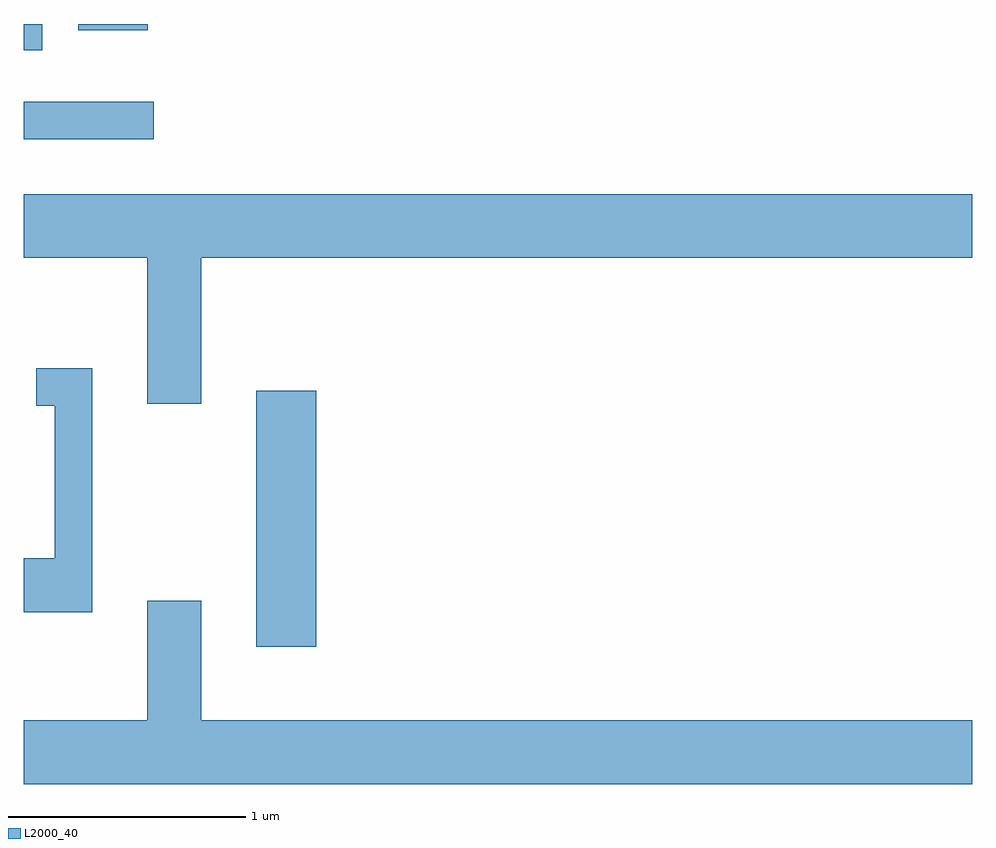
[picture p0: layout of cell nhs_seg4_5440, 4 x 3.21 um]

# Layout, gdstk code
import gdstk
lib = gdstk.Library(unit=1e-6, precision=1e-09)
def R(c, l, rs):  # rectangles x0, y0, x1, y1
    for r in rs: c.add(gdstk.rectangle(r[:2], r[2:], *l))
def P(c, l, *ps):  # polygons
    for p in ps: c.add(gdstk.Polygon(p, *l))
L2000_40 = (2000, 40)

nhs_seg4_5440 = lib.new_cell('nhs_seg4_5440')
R(nhs_seg4_5440, L2000_40, [(346.591,1255.356,346.844,1256.434), (345.611,1257.496,346.158,1257.654), (345.611,1257.871,345.689,1257.982), (345.841,1257.956,346.134,1257.982)])
P(nhs_seg4_5440, L2000_40, [(346.359,1256.996),(349.611,1256.996),(349.611,1257.264),(345.611,1257.264),(345.611,1256.996),(346.131,1256.996),(346.131,1256.381),(346.359,1256.381)],
  [(345.899,1256.529),(345.663,1256.529),(345.663,1256.371),(345.741,1256.371),(345.741,1255.729),(345.611,1255.729),(345.611,1255.501),(345.899,1255.501)],
  [(349.611,1255.044),(346.359,1255.044),(346.359,1255.549),(346.131,1255.549),(346.131,1255.044),(345.611,1255.044),(345.611,1254.776),(349.611,1254.776)])

lib.write_gds('nhs_seg4_5440.gds')
